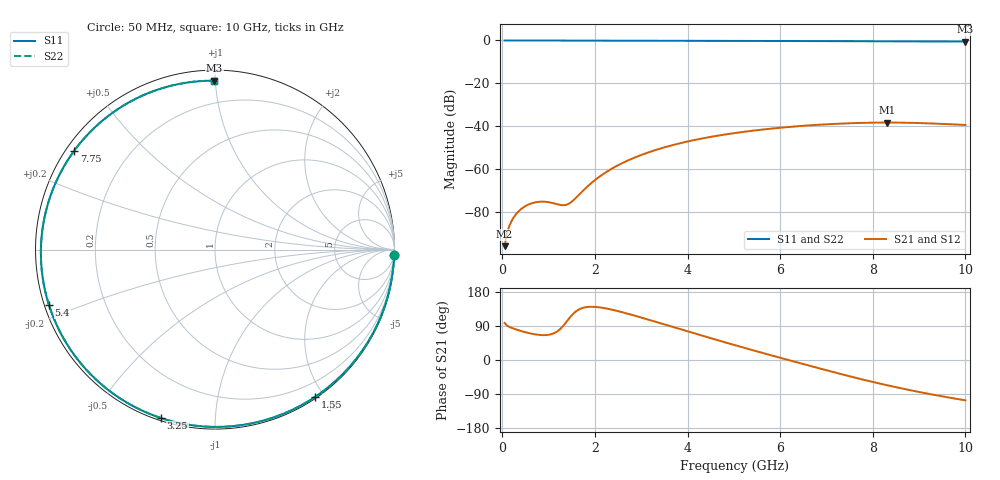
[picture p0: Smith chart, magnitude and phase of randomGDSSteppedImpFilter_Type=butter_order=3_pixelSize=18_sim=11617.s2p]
! freq	dB(S11)	phase(S11)	dB(S12)	phase(S12)
!  dB(S21)	phase(S21)	dB(S22)	phase(S22)
!S-par simulation data
#  GHz  S  DB  R 50
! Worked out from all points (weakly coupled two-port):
!   200 points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, 50 MHz to 10 GHz, reference 50 ohm
!   highest |S21| = -38.18 dB at 8.3 GHz (marker M1); lowest = -95.7 dB at 50 MHz (marker M2)
!   lowest |S11| = -0.5 dB at 10 GHz (marker M3), VSWR 32.84, Z = 3.03 + j49.7 ohm
!   |S11| at or under -10 dB: nowhere
!   |S22| runs from -0.5 to 0.0 dB; largest |S21 - S12| = 0
!   S11 on the Smith chart (normalised r, x): 50 MHz: 1, -64; 1.55 GHz: 0.02, -1.89; 3.25 GHz: 0.01, -0.73; 5.4 GHz: 0.01, -0.16; 7.75 GHz: 0.02, +0.32; 10 GHz: 0.06, +0.99
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0.05  -0.01 -1.8  -95.67 97.7  -95.67 97.7  -0.00 -1.8
0.3  -0.02 -11.1  -80.68 80.5  -80.68 80.5  -0.02 -11.1
0.55  -0.03 -20.3  -76.46 71.7  -76.46 71.7  -0.03 -20.3
0.75  -0.04 -27.6  -75.15 66.9  -75.15 66.9  -0.04 -27.6
0.95  -0.04 -34.8  -75.07 65.8  -75.07 65.8  -0.04 -34.8
1.35  -0.06 -48.8  -76.57 95.2  -76.57 95.2  -0.06 -48.8
1.55  -0.07 -55.6  -74.04 124.1  -74.04 124.1  -0.07 -55.6
1.75  -0.08 -62.3  -69.73 137.9  -69.73 137.9  -0.08 -62.3
2.05  -0.09 -72.1  -64.11 139.6  -64.11 139.6  -0.09 -72.1
2.4  -0.10 -83.0  -59.20 131.9  -59.20 131.9  -0.10 -83.0
3.25  -0.13 -107.8  -51.37 103.0  -51.37 103.0  -0.13 -107.8
3.4  -0.13 -111.9  -50.35 97.6  -50.35 97.6  -0.13 -111.9
4.25  -0.16 -134.0  -45.86 66.5  -45.86 66.5  -0.16 -134.0
5.05  -0.20 -153.4  -42.97 38.2  -42.97 38.2  -0.20 -153.4
5.4  -0.22 -161.6  -41.98 26.1  -41.98 26.1  -0.22 -161.6
6.05  -0.25 -176.5  -40.50 4.2  -40.50 4.2  -0.25 -176.5
6.7  -0.30 168.8  -39.39 -17.3  -39.39 -17.3  -0.30 168.8
7.75  -0.37 144.9  -38.35 -50.6  -38.35 -50.6  -0.37 144.9
8.3  -0.41 132.1  -38.18 -66.4  -38.18 -66.4  -0.41 132.1
8.35  -0.41 130.9  -38.19 -67.7  -38.19 -67.7  -0.41 130.9
9.2  -0.47 110.4  -38.55 -89.1  -38.55 -89.1  -0.47 110.4
10  -0.53 90.2  -39.31 -106.5  -39.31 -106.5  -0.53 90.2
